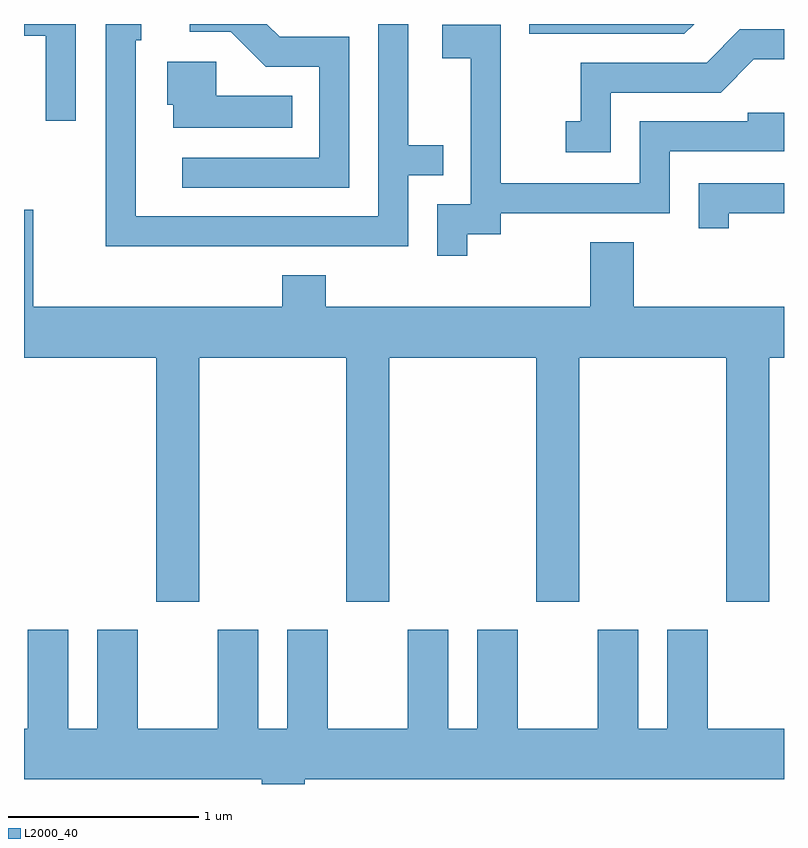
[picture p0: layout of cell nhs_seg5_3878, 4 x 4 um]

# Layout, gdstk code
import gdstk
lib = gdstk.Library(unit=1e-6, precision=1e-09)
def P(c, l, *ps):  # polygons
    for p in ps: c.add(gdstk.Polygon(p, *l))
L2000_40 = (2000, 40)

nhs_seg5_3878 = lib.new_cell('nhs_seg5_3878')
P(nhs_seg5_3878, L2000_40, [(303.138,1494.072),(302.271,1494.072),(302.271,1494.021),(303.087,1494.021)],
  [(301.634,1493.276),(301.818,1493.276),(301.818,1493.434),(301.634,1493.434),(301.634,1494.072),(301.476,1494.072),(301.476,1493.059),(300.199,1493.059),(300.199,1493.986),(300.229,1493.986),(300.229,1494.072),(300.041,1494.072),(300.041,1492.901),(301.634,1492.901)],
  [(301.324,1494.004),(300.957,1494.004),(300.889,1494.072),(300.483,1494.072),(300.483,1494.031),(300.699,1494.031),(300.884,1493.846),(301.166,1493.846),(301.166,1493.369),(300.443,1493.369),(300.443,1493.211),(301.324,1493.211)],
  [(299.884,1494.072),(299.611,1494.072),(299.611,1494.011),(299.726,1494.011),(299.726,1493.563),(299.884,1493.563)],
  [(301.944,1492.966),(302.119,1492.966),(302.119,1493.076),(303.009,1493.076),(303.009,1493.401),(303.611,1493.401),(303.611,1493.604),(303.421,1493.604),(303.421,1493.559),(302.851,1493.559),(302.851,1493.234),(302.119,1493.234),(302.119,1494.069),(301.811,1494.069),(301.811,1493.891),(301.961,1493.891),(301.961,1493.124),(301.786,1493.124),(301.786,1492.853),(301.944,1492.853)],
  [(302.699,1493.711),(303.277,1493.711),(303.452,1493.886),(303.611,1493.886),(303.611,1494.044),(303.379,1494.044),(303.204,1493.869),(302.541,1493.869),(302.541,1493.559),(302.463,1493.559),(302.463,1493.396),(302.699,1493.396)],
  [(301.023,1493.694),(300.624,1493.694),(300.624,1493.874),(300.366,1493.874),(300.366,1493.646),(300.396,1493.646),(300.396,1493.526),(301.023,1493.526)],
  [(303.319,1493.076),(303.611,1493.076),(303.611,1493.234),(303.161,1493.234),(303.161,1492.998),(303.319,1492.998)],
  [(301.199,1492.749),(300.971,1492.749),(300.971,1492.584),(299.659,1492.584),(299.659,1493.094),(299.611,1493.094),(299.611,1492.316),(300.306,1492.316),(300.306,1491.031),(300.534,1491.031),(300.534,1492.316),(301.306,1492.316),(301.306,1491.031),(301.534,1491.031),(301.534,1492.316),(302.306,1492.316),(302.306,1491.031),(302.534,1491.031),(302.534,1492.316),(303.306,1492.316),(303.306,1491.031),(303.534,1491.031),(303.534,1492.316),(303.611,1492.316),(303.611,1492.584),(302.819,1492.584),(302.819,1492.924),(302.591,1492.924),(302.591,1492.584),(301.199,1492.584)],
  [(301.089,1490.096),(303.611,1490.096),(303.611,1490.364),(303.209,1490.364),(303.209,1490.884),(302.996,1490.884),(302.996,1490.364),(302.844,1490.364),(302.844,1490.884),(302.631,1490.884),(302.631,1490.364),(302.209,1490.364),(302.209,1490.884),(301.996,1490.884),(301.996,1490.364),(301.844,1490.364),(301.844,1490.884),(301.631,1490.884),(301.631,1490.364),(301.209,1490.364),(301.209,1490.884),(300.996,1490.884),(300.996,1490.364),(300.844,1490.364),(300.844,1490.884),(300.631,1490.884),(300.631,1490.364),(300.209,1490.364),(300.209,1490.884),(299.996,1490.884),(299.996,1490.364),(299.844,1490.364),(299.844,1490.884),(299.631,1490.884),(299.631,1490.364),(299.611,1490.364),(299.611,1490.096),(300.861,1490.096),(300.861,1490.072),(301.089,1490.072)])

lib.write_gds('nhs_seg5_3878.gds')
